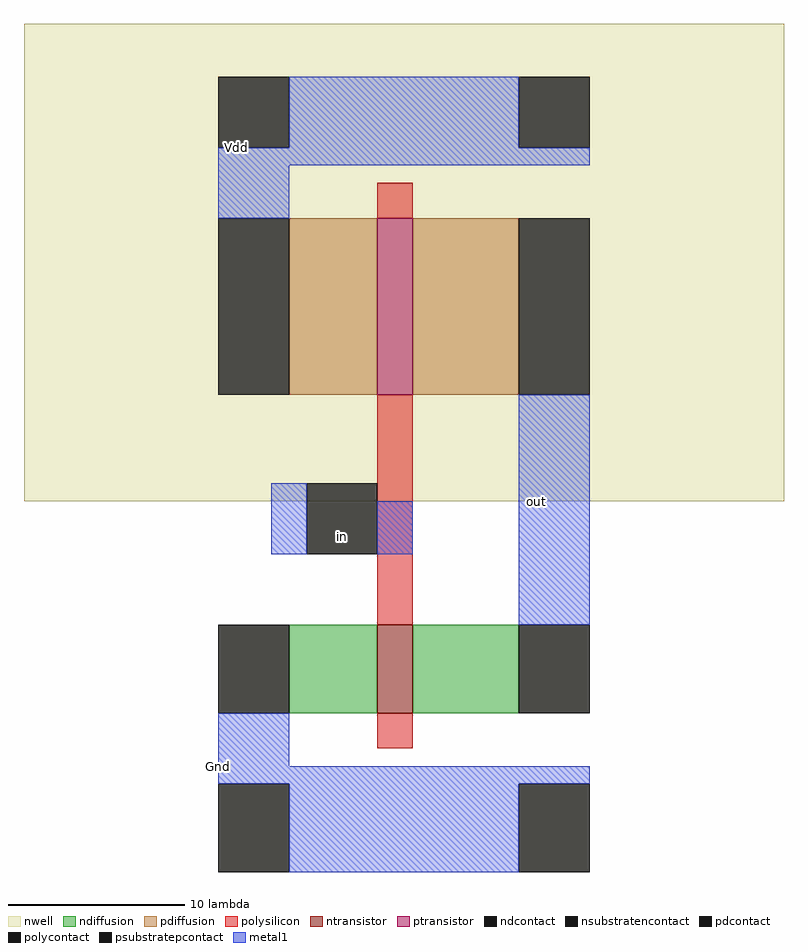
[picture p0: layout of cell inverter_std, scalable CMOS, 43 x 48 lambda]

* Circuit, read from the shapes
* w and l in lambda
.subckt inverter_std Gnd Vdd in out
M1 out in Gnd Gnd nfet w=5 l=2
M2 out in Vdd Vdd pfet w=10 l=2
.ends

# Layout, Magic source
magic
tech scmos
<< nwell >>
rect -21 0 22 27
<< ntransistor >>
rect -1 -12 1 -7
<< ptransistor >>
rect -1 6 1 16
<< ndiffusion >>
rect -6 -12 -1 -7
rect 1 -12 7 -7
<< pdiffusion >>
rect -6 6 -1 16
rect 1 6 7 16
<< ndcontact >>
rect -10 -12 -6 -7
rect 7 -12 11 -7
<< pdcontact >>
rect -10 6 -6 16
rect 7 6 11 16
<< psubstratepcontact >>
rect -10 -21 -6 -16
rect 7 -21 11 -16
<< nsubstratencontact >>
rect -10 20 -6 24
rect 7 20 11 24
<< polysilicon >>
rect -1 16 1 18
rect -1 -7 1 6
rect -1 -14 1 -12
<< polycontact >>
rect -5 -3 -1 1
<< metal1 >>
rect -6 20 7 24
rect -10 19 11 20
rect -10 16 -6 19
rect -7 -3 -5 1
rect -1 -3 1 0
rect 7 -7 11 6
rect -10 -15 -6 -12
rect -10 -16 11 -15
rect -6 -21 7 -16
<< labels >>
rlabel metal1 -10 -15 -10 -15 1 Gnd
rlabel metal1 8 0 8 0 1 out
rlabel metal1 -9 20 -9 20 5 Vdd
rlabel polycontact -3 -2 -3 -2 1 in
<< end >>
